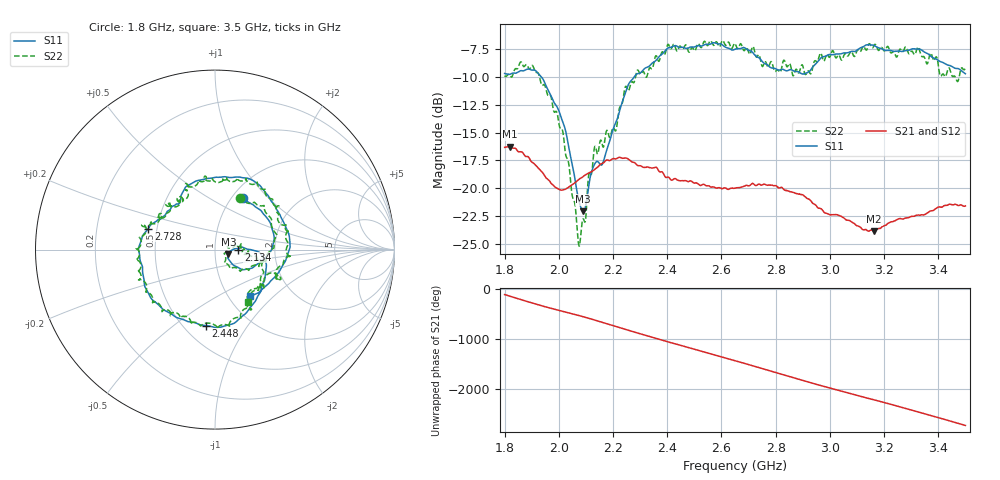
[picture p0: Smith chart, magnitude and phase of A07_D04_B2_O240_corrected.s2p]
! Created with skrf 1.9.0 (http://scikit-rf.org).
# Hz S RI R 50.0
!freq ReS11 ImS11 ReS21 ImS21 ReS12 ImS12 ReS22 ImS22
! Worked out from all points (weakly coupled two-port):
!   1601 points, 1.8 GHz to 3.5 GHz, reference 50 ohm
!   highest |S21| = -16.26 dB at 1.819 GHz (marker M1); lowest = -23.8 dB at 3.163 GHz (marker M2)
!   lowest |S11| = -22.1 dB at 2.09 GHz (marker M3), VSWR 1.17, Z = 58.1 - j2.82 ohm
!   |S11| at or under -10 dB: 1.934 GHz to 2.279 GHz (344.9 MHz wide, 16.4 % of centre)
!   |S22| runs from -25.2 to -6.8 dB; largest |S21 - S12| = 0.0025
!   S11 on the Smith chart (normalised r, x): 1.8 GHz: 1.12, +0.72; 2.134 GHz: 1.30, -0.00; 2.448 GHz: 0.64, -0.66; 2.728 GHz: 0.45, +0.12; 3.5 GHz: 1.25, -0.73
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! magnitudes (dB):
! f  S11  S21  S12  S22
! 1.8 GHz  -9.7  -16.3  -16.3  -9.9
! 1.819 GHz  -9.8  -16.3  -16.3  -9.9
! 1.903 GHz  -9.4  -17.7  -17.7  -9.0
! 1.968 GHz  -11.6  -19.4  -19.4  -11.6
! 2.015 GHz  -14.1  -20.1  -20.1  -14.9
! 2.072 GHz  -20.9  -19.2  -19.3  -24.8
! 2.084 GHz  -21.8  -19.0  -19.0  -23.4
! 2.09 GHz  -22.1  -18.9  -19.0  -22.7
! 2.134 GHz  -17.8  -18.3  -18.3  -16.2
! 2.164 GHz  -17.6  -17.7  -17.7  -16.3
! 2.261 GHz  -10.5  -17.5  -17.5  -11.0
! 2.367 GHz  -8.3  -18.4  -18.3  -8.6
! 2.448 GHz  -7.4  -19.3  -19.3  -7.3
! 2.65 GHz  -7.6  -20.0  -19.9  -7.0
! 2.728 GHz  -8.2  -19.7  -19.7  -8.2
! 2.803 GHz  -9.3  -19.8  -19.8  -9.4
! 2.934 GHz  -9.3  -21.2  -21.2  -9.5
! 3.163 GHz  -7.2  -23.8  -23.8  -7.2
! 3.217 GHz  -7.7  -23.1  -23.0  -7.5
! 3.327 GHz  -7.5  -22.4  -22.3  -7.4
! 3.468 GHz  -9.3  -21.5  -21.4  -10.4
! 3.5 GHz  -9.8  -21.6  -21.5  -9.2
